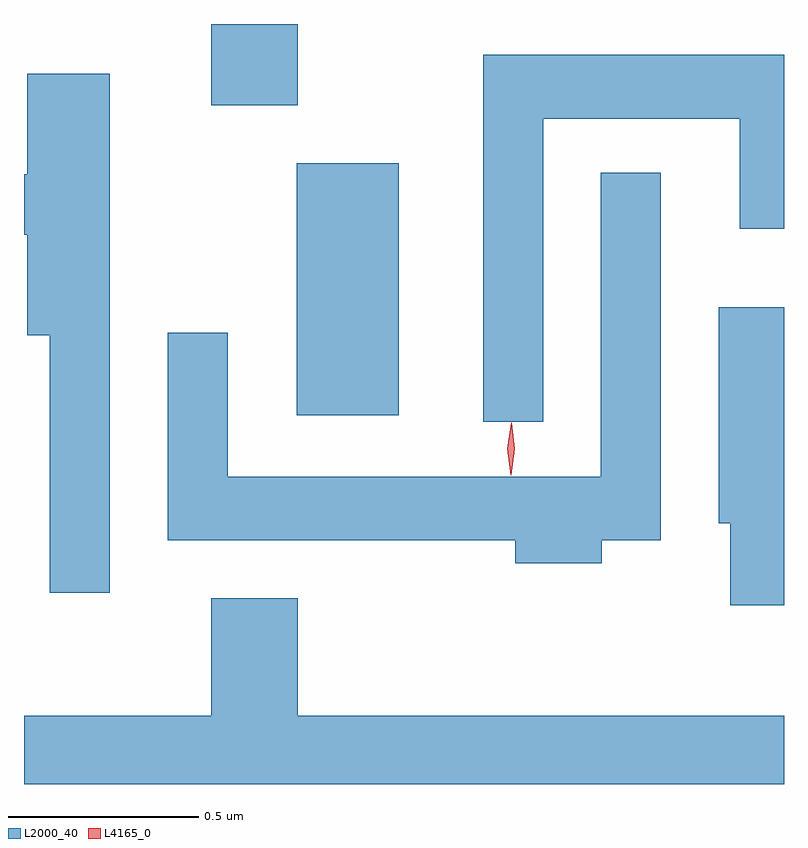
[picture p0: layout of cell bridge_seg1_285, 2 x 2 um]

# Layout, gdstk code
import gdstk
lib = gdstk.Library(unit=1e-6, precision=1e-09)
def R(c, l, rs):  # rectangles x0, y0, x1, y1
    for r in rs: c.add(gdstk.rectangle(r[:2], r[2:], *l))
def P(c, l, *ps):  # polygons
    for p in ps: c.add(gdstk.Polygon(p, *l))
L2000_40 = (2000, 40)
L4165_0 = (4165, 0)

bridge_seg1_285 = lib.new_cell('bridge_seg1_285')
R(bridge_seg1_285, L2000_40, [(843.156,900.636,843.424,901.299), (842.931,901.451,843.159,901.665)])
P(bridge_seg1_285, L2000_40, [(843.804,901.416),(844.321,901.416),(844.321,901.126),(844.438,901.126),(844.438,901.584),(843.646,901.584),(843.646,900.618),(843.804,900.618)],
  [(842.664,901.534),(842.446,901.534),(842.446,901.269),(842.438,901.269),(842.438,901.111),(842.446,901.111),(842.446,900.846),(842.506,900.846),(842.506,900.168),(842.664,900.168)],
  [(843.959,900.306),(844.114,900.306),(844.114,901.273),(843.956,901.273),(843.956,900.474),(842.974,900.474),(842.974,900.853),(842.816,900.853),(842.816,900.306),(843.731,900.306),(843.731,900.246),(843.959,900.246)],
  [(844.438,900.919),(844.266,900.919),(844.266,900.351),(844.296,900.351),(844.296,900.136),(844.438,900.136)],
  [(844.438,899.844),(843.159,899.844),(843.159,900.154),(842.931,900.154),(842.931,899.844),(842.438,899.844),(842.438,899.665),(844.438,899.665)])
P(bridge_seg1_285, L4165_0, [(843.719,900.477),(843.71,900.547),(843.72,900.616),(843.72,900.616),(843.721,900.616),(843.73,900.547),(843.72,900.477),(843.72,900.477)])

lib.write_gds('bridge_seg1_285.gds')
